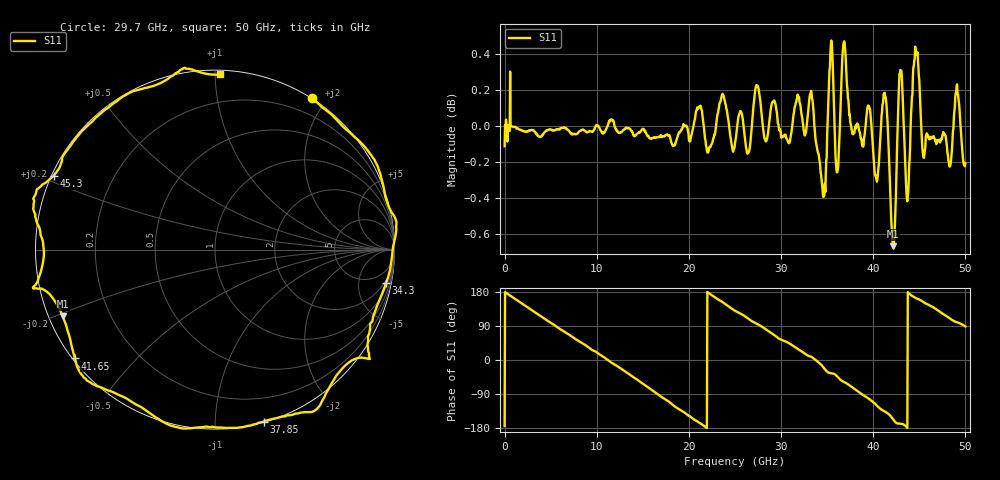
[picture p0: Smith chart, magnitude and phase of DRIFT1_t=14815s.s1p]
!Created with skrf (http://scikit-rf.org).
# Hz S RI R 50.0
!freq ReS11 ImS11
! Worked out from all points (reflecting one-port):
!   1001 points, 300 kHz to 50 GHz, reference 50 ohm
!   lowest |S11| = -0.7 dB at 42.15 GHz (marker M1), VSWR 25.98, Z = 2.01 - j10.5 ohm
!   phase of S11 starts at -174 deg and turns -817 deg over the sweep
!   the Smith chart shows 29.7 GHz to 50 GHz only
!   S11 on the Smith chart (normalised r, x): 29.7 GHz: -0.00, +1.83; 34.3 GHz: 2, -10; 37.85 GHz: 0.01, -1.32; 41.65 GHz: 0.01, -0.34; 45.3 GHz: 0.01, +0.22; 50 GHz: 0.02, +1.03
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300000  -0.9817 -0.101
1.500291e9  -0.9059 0.4187
3.25028e9  -0.5917 0.8015
6.250262e9  0.2026 0.9779
9.450243e9  0.8863 0.4547
1.250022e10  0.9321 -0.3497
1.580021e10  0.2367 -0.9631
1.74002e10  -0.224 -0.9681
1.875019e10  -0.5989 -0.7919
2.150017e10  -0.9934 -0.1501
2.350016e10  -0.9232 0.4283
2.500015e10  -0.6336 0.7593
2.740014e10  -0.0949 1.021
2.970012e10  0.5395 0.8432
3.125011e10  0.7872 0.6198
3.31001e10  1.003 0.1779
3.430009e10  0.9525 -0.1845
3.520009e10  0.8536 -0.5681
3.750008e10  0.3714 -0.9308
3.785007e10  0.2707 -0.958
3.960006e10  -0.2373 -0.9826
4.165005e10  -0.7815 -0.6066
4.215005e10  -0.8476 -0.3725
4.290004e10  -1.011 -0.2169
4.375004e10  -0.9559 0.0139
4.530003e10  -0.8986 0.4117
4.770001e10  -0.4895 0.8661
5e10  0.0252 0.976
